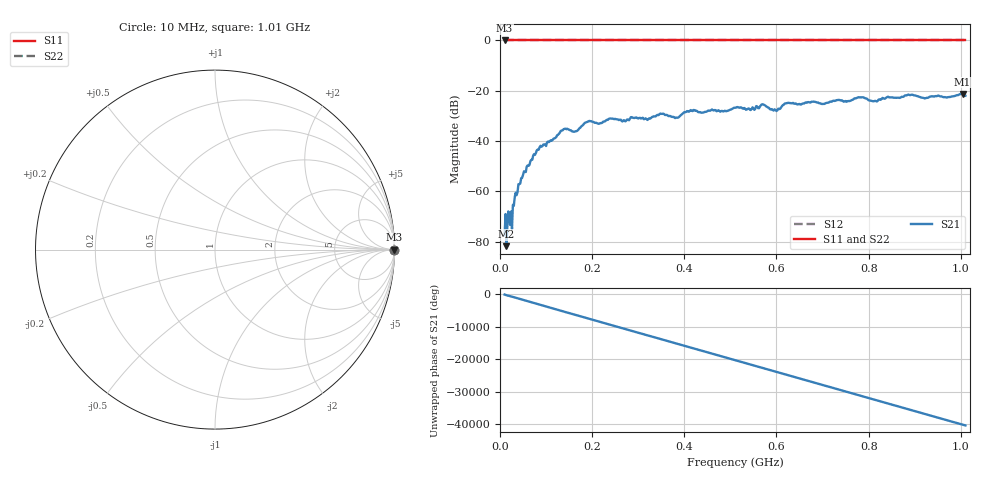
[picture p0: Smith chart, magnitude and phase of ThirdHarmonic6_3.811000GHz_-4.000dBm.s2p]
! 8/17/2025 1:12:24 PM
! C:\ANRITSUVNA\TEMP\TEMP.S2P
! CHANNEL.1
! TR.MEASUREMENT
! RAW.DATA
! RF.CORRECTION.OFF
! AVERAGING.OFF
! IF.BANDWIDTH: 5KHZ
! SWEEPTYPE:  FREQ.SWEEP(Linear)
! Reference Plane Port Info
! PORT:  PORT1  PORT2
! DISTANCE:  0  m  0  m
! TIME:  0  s  0  s
! PHASE.OFFSET:  0  deg.  0  deg.
! LOSS:  0  dB  0  dB
! REF.LOSS:  0  dB  0  dB
! REF.FREQ:  0  Hz  0  Hz
! Power Info
! POWER:  -20  dBm  -20  dBm
! EFF.POWER:  -20  dBm  -20  dBm
! SOURCE.ATTEN:  0  dB  0  dB
! TEST.ATTEN:  0  dB  0  dB
# GHZ S RI R 50.0
! FREQ.GHZ  S11RE  S11IM  S21RE  S21IM  S12RE  S12IM  S22RE  S22IM
!; PortSelection: Port_12
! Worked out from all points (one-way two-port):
!   501 points, 10 MHz to 1.01 GHz, reference 50 ohm
!   highest |S21| = -21.29 dB at 1.004 GHz (marker M1); lowest = -81.7 dB at 14 MHz (marker M2)
!   lowest |S11| = 0.0 dB at 10 MHz (marker M3)
!   |S11| at or under -10 dB: nowhere
!   |S22| runs from 0.0 to 0.0 dB; largest |S21 - S12| = 1.1
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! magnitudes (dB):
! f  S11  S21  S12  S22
! 10 MHz  0.0  -77.4  0.0  0.0
! 14 MHz  0.0  -81.7  0.0  0.0
! 26 MHz  0.0  -75.0  0.0  0.0
! 36 MHz  0.0  -61.5  0.0  0.0
! 50 MHz  0.0  -53.4  0.0  0.0
! 84 MHz  0.0  -43.4  0.0  0.0
! 136 MHz  0.0  -35.7  0.0  0.0
! 164 MHz  0.0  -36.1  0.0  0.0
! 178 MHz  0.0  -33.9  0.0  0.0
! 194 MHz  0.0  -32.0  0.0  0.0
! 322 MHz  0.0  -31.2  0.0  0.0
! 344 MHz  0.0  -29.7  0.0  0.0
! 384 MHz  0.0  -30.7  0.0  0.0
! 410 MHz  0.0  -28.3  0.0  0.0
! 510 MHz  0.0  -26.7  0.0  0.0
! 572 MHz  0.0  -25.5  0.0  0.0
! 598 MHz  0.0  -27.6  0.0  0.0
! 622 MHz  0.0  -24.9  0.0  0.0
! 678 MHz  0.0  -24.3  0.0  0.0
! 844 MHz  0.0  -22.6  0.0  0.0
! 1.004 GHz  0.0  -21.3  0.0  0.0
! 1.01 GHz  0.0  -22.0  0.0  0.0
